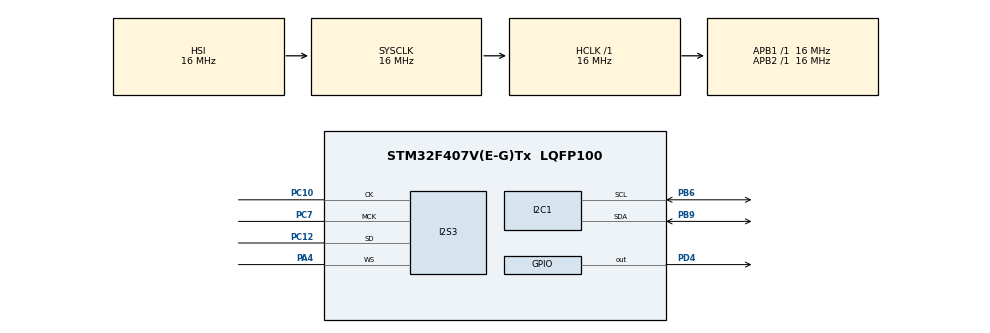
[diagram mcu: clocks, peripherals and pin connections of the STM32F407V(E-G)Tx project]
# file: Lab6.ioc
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Dma.Request0=SPI3_TX
Dma.SPI3_TX.0.Direction=DMA_MEMORY_TO_PERIPH
Dma.SPI3_TX.0.FIFOMode=DMA_FIFOMODE_ENABLE
Dma.SPI3_TX.0.FIFOThreshold=DMA_FIFO_THRESHOLD_FULL
Dma.SPI3_TX.0.Instance=DMA1_Stream5
Dma.SPI3_TX.0.MemBurst=DMA_MBURST_SINGLE
Dma.SPI3_TX.0.MemDataAlignment=DMA_MDATAALIGN_HALFWORD
Dma.SPI3_TX.0.MemInc=DMA_MINC_ENABLE
Dma.SPI3_TX.0.Mode=DMA_CIRCULAR
Dma.SPI3_TX.0.PeriphBurst=DMA_PBURST_SINGLE
Dma.SPI3_TX.0.PeriphDataAlignment=DMA_PDATAALIGN_HALFWORD
Dma.SPI3_TX.0.PeriphInc=DMA_PINC_DISABLE
Dma.SPI3_TX.0.Priority=DMA_PRIORITY_LOW
I2S3.AudioFreq=I2S_AUDIOFREQ_48K
I2S3.ErrorAudioFreq=-2.34 %
I2S3.FullDuplexMode=I2S_FULLDUPLEXMODE_DISABLE
I2S3.Instance=SPI$Index
I2S3.RealAudioFreq=46.875 KHz
I2S3.VirtualMode=I2S_MODE_MASTER
Mcu.Family=STM32F4
Mcu.Name=STM32F407V(E-G)Tx
Mcu.Package=LQFP100
NVIC.DMA1_Stream5_IRQn=true\:0\:0\:false\:false\:true\:false\:true\:true
NVIC.PriorityGroup=NVIC_PRIORITYGROUP_4
PA4.Mode=Half_Duplex_Master
PA4.Signal=I2S3_WS
PB6.Mode=I2C
PB6.Signal=I2C1_SCL
PB9.Mode=I2C
PB9.Signal=I2C1_SDA
PC10.Mode=Half_Duplex_Master
PC10.Signal=I2S3_CK
PC12.Mode=Half_Duplex_Master
PC12.Signal=I2S3_SD
PC7.Mode=Master_Clock_Activated
PC7.Signal=I2S3_MCK
PD4.Signal=GPIO_Output
ProjectManager.HeapSize=0x200
ProjectManager.StackSize=0x400
ProjectManager.TargetToolchain=STM32CubeIDE
RCC.AHBFreq_Value=16000000
RCC.APB1Freq_Value=16000000
RCC.APB2Freq_Value=16000000
RCC.CortexFreq_Value=16000000
RCC.HSE_VALUE=25000000
RCC.HSI_VALUE=16000000
RCC.LSE_VALUE=32768
RCC.SYSCLKFreq_VALUE=16000000
RCC.VCOOutputFreq_Value=192000000
board=custom

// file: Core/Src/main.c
/* USER CODE BEGIN Header */
/**
  ******************************************************************************
  * @file           : main.c
  * @brief          : Main program body
  ******************************************************************************
  * @attention
  *
  * Copyright (c) 2024 STMicroelectronics.
  * All rights reserved.
  *
  * This software is licensed under terms that can be found in the LICENSE file
  * in the root directory of this software component.
  * If no LICENSE file comes with this software, it is provided AS-IS.
  *
  ******************************************************************************
  */
/* USER CODE END Header */
#include "main.h"

/* USER CODE BEGIN PTD */

typedef enum
{
	C4,
	C5,
	D5,
	E5,
	F5,
	G5,
	A5,
	B5,
	C6,
	D6,
	E6,
	F6,
	G6,
	A6,
	B6,
	C7,
} soundToneType;

/* USER CODE END PTD */

/* USER CODE BEGIN PD */

#define CS43L22_I2C_ADDRESS		0x94
#define I2C_TIMEOUT				10

/* USER CODE END PD */

I2C_HandleTypeDef hi2c1;

I2S_HandleTypeDef hi2s3;
DMA_HandleTypeDef hdma_spi3_tx;

/* USER CODE BEGIN PV */

int16_t dataI2S[100] = {0};

/* USER CODE END PV */

void SystemClock_Config(void);
static void MX_GPIO_Init(void);
static void MX_DMA_Init(void);
static void MX_I2C1_Init(void);
static void MX_I2S3_Init(void);

/* USER CODE BEGIN 0 */

void CS43L22_Init(void)
{
	// Enable chip
	HAL_GPIO_WritePin(GPIOD, GPIO_PIN_4, GPIO_PIN_SET);

	//
	// Initialization
	//
	uint8_t TxBuffer[2];

	TxBuffer[0] = 0x0D;
	TxBuffer[1] = 0x01;
	HAL_I2C_Master_Transmit(&hi2c1, CS43L22_I2C_ADDRESS, (uint8_t*) &TxBuffer, 2, I2C_TIMEOUT);

	TxBuffer[0] = 0x00;
	TxBuffer[1] = 0x99;
	HAL_I2C_Master_Transmit(&hi2c1, CS43L22_I2C_ADDRESS, (uint8_t*) &TxBuffer, 2, I2C_TIMEOUT);

	TxBuffer[0] = 0x47;
	TxBuffer[1] = 0x80;
	HAL_I2C_Master_Transmit(&hi2c1, CS43L22_I2C_ADDRESS, (uint8_t*) &TxBuffer, 2, I2C_TIMEOUT);

	TxBuffer[0] = 0x32;
	TxBuffer[1] = 0xFF;
	HAL_I2C_Master_Transmit(&hi2c1, CS43L22_I2C_ADDRESS, (uint8_t*) &TxBuffer, 2, I2C_TIMEOUT);

	TxBuffer[0] = 0x32;
	TxBuffer[1] = 0x7F;
	HAL_I2C_Master_Transmit(&hi2c1, CS43L22_I2C_ADDRESS, (uint8_t*) &TxBuffer, 2, I2C_TIMEOUT);

	TxBuffer[0] = 0x00;
	TxBuffer[1] = 0x00;
	HAL_I2C_Master_Transmit(&hi2c1, CS43L22_I2C_ADDRESS, (uint8_t*) &TxBuffer, 2, I2C_TIMEOUT);

	TxBuffer[0] = 0x04;
	TxBuffer[1] = 0xAF;
	HAL_I2C_Master_Transmit(&hi2c1, CS43L22_I2C_ADDRESS, (uint8_t*) &TxBuffer, 2, I2C_TIMEOUT);

	TxBuffer[0] = 0x0D;
	TxBuffer[1] = 0x70;
	HAL_I2C_Master_Transmit(&hi2c1, CS43L22_I2C_ADDRESS, (uint8_t*) &TxBuffer, 2, I2C_TIMEOUT);

	TxBuffer[0] = 0x05;
	TxBuffer[1] = 0x81;
	HAL_I2C_Master_Transmit(&hi2c1, CS43L22_I2C_ADDRESS, (uint8_t*) &TxBuffer, 2, I2C_TIMEOUT);

	TxBuffer[0] = 0x06;
	TxBuffer[1] = 0x07;
	HAL_I2C_Master_Transmit(&hi2c1, CS43L22_I2C_ADDRESS, (uint8_t*) &TxBuffer, 2, I2C_TIMEOUT);

	TxBuffer[0] = 0x0A;
	TxBuffer[1] = 0x00;
	HAL_I2C_Master_Transmit(&hi2c1, CS43L22_I2C_ADDRESS, (uint8_t*) &TxBuffer, 2, I2C_TIMEOUT);

	TxBuffer[0] = 0x27;
	TxBuffer[1] = 0x00;
	HAL_I2C_Master_Transmit(&hi2c1, CS43L22_I2C_ADDRESS, (uint8_t*) &TxBuffer, 2, I2C_TIMEOUT);

	TxBuffer[0] = 0x1A;
	TxBuffer[1] = 0x0A;
	HAL_I2C_Master_Transmit(&hi2c1, CS43L22_I2C_ADDRESS, (uint8_t*) &TxBuffer, 2, I2C_TIMEOUT);

	TxBuffer[0] = 0x1B;
	TxBuffer[1] = 0x0A;
	HAL_I2C_Master_Transmit(&hi2c1, CS43L22_I2C_ADDRESS, (uint8_t*) &TxBuffer, 2, I2C_TIMEOUT);

	TxBuffer[0] = 0x1F;
	TxBuffer[1] = 0x0F;
	HAL_I2C_Master_Transmit(&hi2c1, CS43L22_I2C_ADDRESS, (uint8_t*) &TxBuffer, 2, I2C_TIMEOUT);

	TxBuffer[0] = 0x02;
	TxBuffer[1] = 0x9E;
	HAL_I2C_Master_Transmit(&hi2c1, CS43L22_I2C_ADDRESS, (uint8_t*) &TxBuffer, 2, I2C_TIMEOUT);
}

void CS43L22_Beep(soundToneType pitch, uint32_t duration_ms)
{
	uint8_t TxBuffer[2];

	// Set volume and off time
	TxBuffer[0] = 0x1D;		// Register address
	TxBuffer[1] = 0x00;		// Value (volume and off time)
	HAL_I2C_Master_Transmit(&hi2c1, CS43L22_I2C_ADDRESS, (uint8_t*) &TxBuffer, 2, I2C_TIMEOUT);

	// Set sound frequency
	TxBuffer[0] = 0x1C;		// Register address
	TxBuffer[1] = (pitch << 4);

	HAL_I2C_Master_Transmit(&hi2c1, CS43L22_I2C_ADDRESS, (uint8_t*) &TxBuffer, 2, I2C_TIMEOUT);

	// Enable continuous mode (SOUND STARTED)
	TxBuffer[0] = 0x1E;		// Register address
	TxBuffer[1] = 0xC0;		// Value (beep and tone configuration)
	HAL_I2C_Master_Transmit(&hi2c1, CS43L22_I2C_ADDRESS, (uint8_t*) &TxBuffer, 2, I2C_TIMEOUT);

	// Playing...
	HAL_Delay(duration_ms);

	// Disable continuous mode (SOUND STOPED)
	TxBuffer[0] = 0x1E;		// Register address
	TxBuffer[1] = 0x00;		// Value (beep and tone configuration)
	HAL_I2C_Master_Transmit(&hi2c1, CS43L22_I2C_ADDRESS, (uint8_t*) &TxBuffer, 2, I2C_TIMEOUT);
}

/* USER CODE END 0 */

int main(void)
{

  /* MCU Configuration--------------------------------------------------------*/

  /* Reset of all peripherals, Initializes the Flash interface and the Systick. */
  HAL_Init();

  /* Configure the system clock */
  SystemClock_Config();

  /* Initialize all configured peripherals */
  MX_GPIO_Init();
  MX_DMA_Init();
  MX_I2C1_Init();
  MX_I2S3_Init();
  /* USER CODE BEGIN 2 */

    // Init DAC
    CS43L22_Init();

    // Transmit empty data
    HAL_I2S_Transmit_DMA(&hi2s3, (uint16_t *)dataI2S, 100);

    int mult = 5;
    /* USER CODE END 2 */

  /* Infinite loop */
  /* USER CODE BEGIN WHILE */
  while (1)
  {
	  CS43L22_Beep(B5, 27 * mult);
	  CS43L22_Beep(C6, 27 * mult);
	  HAL_Delay(40);

	  CS43L22_Beep(C6, 175 * mult);
	  CS43L22_Beep(B5, 27 * mult);
	  CS43L22_Beep(C6, 27 * mult);

	  HAL_Delay(40);

	  CS43L22_Beep(C6, 113 * mult);
	  CS43L22_Beep(D6, 56 * mult);
	  CS43L22_Beep(C6, 56 * mult);
	  HAL_Delay(40);

	  CS43L22_Beep(C6, 175 * mult);
	  CS43L22_Beep(B5, 27 * mult);
	  CS43L22_Beep(C6, 27 * mult);
	  HAL_Delay(40);

	  CS43L22_Beep(C6, 175 * mult);
	  CS43L22_Beep(B5, 27 * mult);
	  CS43L22_Beep(C6, 27 * mult);
	  HAL_Delay(40);

	  CS43L22_Beep(C6, 175 * mult);
	  CS43L22_Beep(B5, 27 * mult);
	  CS43L22_Beep(C6, 27 * mult);
	  HAL_Delay(40);

	  CS43L22_Beep(C6, 113 * mult);
	  CS43L22_Beep(D6, 56 * mult);
	  CS43L22_Beep(C6, 56 * mult);
	  HAL_Delay(40);

	  CS43L22_Beep(C6, 56 * mult);

	  HAL_Delay(500);
    /* USER CODE END WHILE */

  }
}

void SystemClock_Config(void)
{
  RCC_OscInitTypeDef RCC_OscInitStruct = {0};
  RCC_ClkInitTypeDef RCC_ClkInitStruct = {0};

  /** Macro to configure the PLL multiplication factor
  */
  __HAL_RCC_PLL_PLLM_CONFIG(16);

  /** Macro to configure the PLL clock source
  */
  __HAL_RCC_PLL_PLLSOURCE_CONFIG(RCC_PLLSOURCE_HSI);

  /** Configure the main internal regulator output voltage
  */
  __HAL_RCC_PWR_CLK_ENABLE();
  __HAL_PWR_VOLTAGESCALING_CONFIG(PWR_REGULATOR_VOLTAGE_SCALE1);

  /** Initializes the RCC Oscillators according to the specified parameters
  * in the RCC_OscInitTypeDef structure.
  */
  RCC_OscInitStruct.OscillatorType = RCC_OSCILLATORTYPE_HSI;
  RCC_OscInitStruct.HSIState = RCC_HSI_ON;
  RCC_OscInitStruct.HSICalibrationValue = RCC_HSICALIBRATION_DEFAULT;
  RCC_OscInitStruct.PLL.PLLState = RCC_PLL_NONE;
  RCC_OscInitStruct.PLL.PLLSource = RCC_PLLSOURCE_HSI;
  if (HAL_RCC_OscConfig(&RCC_OscInitStruct) != HAL_OK)
  {
    Error_Handler();
  }

  /** Initializes the CPU, AHB and APB buses clocks
  */
  RCC_ClkInitStruct.ClockType = RCC_CLOCKTYPE_HCLK|RCC_CLOCKTYPE_SYSCLK
                              |RCC_CLOCKTYPE_PCLK1|RCC_CLOCKTYPE_PCLK2;
  RCC_ClkInitStruct.SYSCLKSource = RCC_SYSCLKSOURCE_HSI;
  RCC_ClkInitStruct.AHBCLKDivider = RCC_SYSCLK_DIV1;
  RCC_ClkInitStruct.APB1CLKDivider = RCC_HCLK_DIV1;
  RCC_ClkInitStruct.APB2CLKDivider = RCC_HCLK_DIV1;

  if (HAL_RCC_ClockConfig(&RCC_ClkInitStruct, FLASH_LATENCY_0) != HAL_OK)
  {
    Error_Handler();
  }
}

static void MX_I2C1_Init(void)
{

  hi2c1.Instance = I2C1;
  hi2c1.Init.ClockSpeed = 100000;
  hi2c1.Init.DutyCycle = I2C_DUTYCYCLE_2;
  hi2c1.Init.OwnAddress1 = 0;
  hi2c1.Init.AddressingMode = I2C_ADDRESSINGMODE_7BIT;
  hi2c1.Init.DualAddressMode = I2C_DUALADDRESS_DISABLE;
  hi2c1.Init.OwnAddress2 = 0;
  hi2c1.Init.GeneralCallMode = I2C_GENERALCALL_DISABLE;
  hi2c1.Init.NoStretchMode = I2C_NOSTRETCH_DISABLE;
  if (HAL_I2C_Init(&hi2c1) != HAL_OK)
  {
    Error_Handler();
  }

}

static void MX_I2S3_Init(void)
{

  hi2s3.Instance = SPI3;
  hi2s3.Init.Mode = I2S_MODE_MASTER_TX;
  hi2s3.Init.Standard = I2S_STANDARD_PHILIPS;
  hi2s3.Init.DataFormat = I2S_DATAFORMAT_16B;
  hi2s3.Init.MCLKOutput = I2S_MCLKOUTPUT_ENABLE;
  hi2s3.Init.AudioFreq = I2S_AUDIOFREQ_48K;
  hi2s3.Init.CPOL = I2S_CPOL_LOW;
  hi2s3.Init.ClockSource = I2S_CLOCK_PLL;
  hi2s3.Init.FullDuplexMode = I2S_FULLDUPLEXMODE_DISABLE;
  if (HAL_I2S_Init(&hi2s3) != HAL_OK)
  {
    Error_Handler();
  }

}

static void MX_DMA_Init(void)
{

  /* DMA controller clock enable */
  __HAL_RCC_DMA1_CLK_ENABLE();

  /* DMA interrupt init */
  /* DMA1_Stream5_IRQn interrupt configuration */
  HAL_NVIC_SetPriority(DMA1_Stream5_IRQn, 0, 0);
  HAL_NVIC_EnableIRQ(DMA1_Stream5_IRQn);

}

static void MX_GPIO_Init(void)
{
  GPIO_InitTypeDef GPIO_InitStruct = {0};

  /* GPIO Ports Clock Enable */
  __HAL_RCC_GPIOA_CLK_ENABLE();
  __HAL_RCC_GPIOC_CLK_ENABLE();
  __HAL_RCC_GPIOD_CLK_ENABLE();
  __HAL_RCC_GPIOB_CLK_ENABLE();

  /*Configure GPIO pin Output Level */
  HAL_GPIO_WritePin(GPIOD, GPIO_PIN_4, GPIO_PIN_RESET);

  /*Configure GPIO pin : PD4 */
  GPIO_InitStruct.Pin = GPIO_PIN_4;
  GPIO_InitStruct.Mode = GPIO_MODE_OUTPUT_PP;
  GPIO_InitStruct.Pull = GPIO_NOPULL;
  GPIO_InitStruct.Speed = GPIO_SPEED_FREQ_LOW;
  HAL_GPIO_Init(GPIOD, &GPIO_InitStruct);

}

void Error_Handler(void)
{
  __disable_irq();
  while (1)
  {
  }
}
